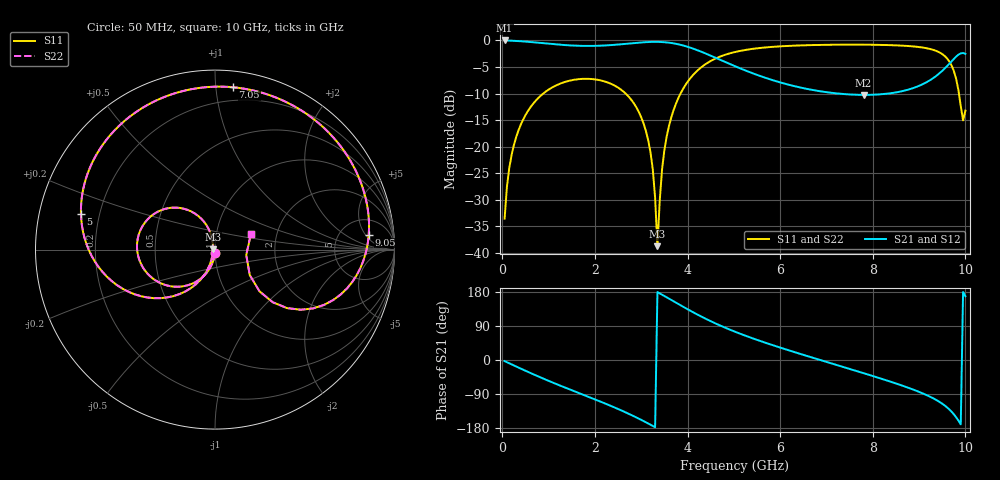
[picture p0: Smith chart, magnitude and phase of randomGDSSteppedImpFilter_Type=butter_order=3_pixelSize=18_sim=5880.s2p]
! freq	dB(S11)	phase(S11)	dB(S12)	phase(S12)
!  dB(S21)	phase(S21)	dB(S22)	phase(S22)
!S-par simulation data
#  GHz  S  DB  R 50
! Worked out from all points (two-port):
!   200 points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, 50 MHz to 10 GHz, reference 50 ohm
!   highest |S21| = 0.00 dB at 50 MHz (marker M1); lowest = -10.3 dB at 7.8 GHz (marker M2)
!   |S21| within 3 dB of the highest: start of sweep to 4.537 GHz; 9.805 GHz to end of sweep
!   lowest |S11| = -38.7 dB at 3.35 GHz (marker M3), VSWR 1.02, Z = 48.9 + j0.176 ohm
!   |S11| at or under -10 dB: start of sweep to 884.7 MHz; 2.662 GHz to 3.849 GHz (1.186 GHz wide, 36.4 % of centre); 9.86 GHz to end of sweep
!   |S22| runs from -38.6 to -0.8 dB; largest |S21 - S12| = 0
!   S11 on the Smith chart (normalised r, x): 50 MHz: 1.00, -0.04; 5 GHz: 0.13, +0.13; 7.05 GHz: 0.11, +1.11; 9.05 GHz: 9, +6; 10 GHz: 1.47, +0.27
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0.05  -33.56 -92.9  -0.00 -2.9  -0.00 -2.9  -33.56 -92.9
0.2  -21.61 -101.9  -0.05 -11.5  -0.05 -11.5  -21.61 -101.9
0.5  -14.08 -118.9  -0.22 -28.4  -0.22 -28.4  -14.08 -118.9
1.75  -7.23 177.8  -1.03 -91.8  -1.03 -91.8  -7.23 177.8
2.45  -8.62 143.5  -0.81 -126.6  -0.81 -126.6  -8.62 143.5
3  -14.48 114.0  -0.38 -158.0  -0.38 -158.0  -14.48 114.0
3.25  -24.30 105.1  -0.27 -174.0  -0.27 -174.0  -24.30 105.2
3.35  -38.75 171.0  -0.27 179.2  -0.27 179.2  -38.61 171.2
3.4  -30.14 -116.0  -0.28 175.8  -0.28 175.8  -30.12 -116.3
3.55  -18.09 -110.7  -0.37 165.4  -0.37 165.4  -18.09 -110.8
3.85  -9.98 -128.5  -0.83 144.3  -0.83 144.3  -9.98 -128.6
4.35  -4.70 -160.2  -2.31 111.4  -2.31 111.4  -4.70 -160.3
5  -2.23 165.0  -4.76 75.8  -4.76 75.8  -2.23 165.0
5.05  -2.13 162.7  -4.95 73.4  -4.95 73.4  -2.13 162.7
6.7  -0.87 96.6  -9.33 6.1  -9.33 6.1  -0.87 96.5
7.05  -0.82 83.7  -9.80 -6.8  -9.80 -6.8  -0.82 83.7
7.8  -0.80 56.2  -10.25 -34.7  -10.25 -34.7  -0.80 56.2
8.35  -0.88 35.2  -9.99 -55.9  -9.99 -55.9  -0.88 35.2
9.05  -1.30 5.6  -8.36 -86.6  -8.36 -86.6  -1.30 5.6
9.7  -4.68 -35.1  -3.94 -136.3  -3.94 -136.3  -4.68 -35.0
9.95  -15.05 -9.7  -2.37 179.5  -2.37 179.5  -15.07 -9.6
10  -13.23 23.4  -2.52 168.3  -2.52 168.3  -13.24 23.5
